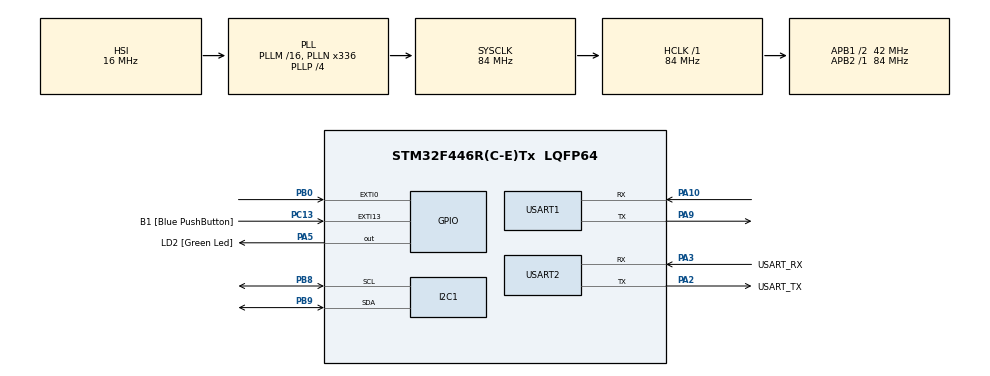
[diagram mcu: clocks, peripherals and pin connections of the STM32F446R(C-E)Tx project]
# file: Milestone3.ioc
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Mcu.Family=STM32F4
Mcu.Name=STM32F446R(C-E)Tx
Mcu.Package=LQFP64
NVIC.EXTI0_IRQn=true\:0\:0\:false\:false\:true\:true\:true\:true
NVIC.EXTI15_10_IRQn=true\:0\:0\:false\:false\:true\:true\:true\:true
NVIC.PriorityGroup=NVIC_PRIORITYGROUP_0
NVIC.USART1_IRQn=true\:0\:0\:false\:false\:true\:true\:true\:true
PA10.Mode=Asynchronous
PA10.Signal=USART1_RX
PA13.GPIO_Label=TMS
PA13.Mode=Serial_Wire
PA13.Signal=SYS_JTMS-SWDIO
PA14.GPIO_Label=TCK
PA14.Mode=Serial_Wire
PA14.Signal=SYS_JTCK-SWCLK
PA2.GPIO_Label=USART_TX
PA2.Mode=Asynchronous
PA2.Signal=USART2_TX
PA3.GPIO_Label=USART_RX
PA3.Mode=Asynchronous
PA3.Signal=USART2_RX
PA5.GPIO_Label=LD2 [Green Led]
PA5.Signal=GPIO_Output
PA9.Mode=Asynchronous
PA9.Signal=USART1_TX
PB0.GPIO_PuPd=GPIO_PULLUP
PB0.Signal=GPXTI0
PB3.GPIO_Label=SWO
PB3.Signal=SYS_JTDO-SWO
PB8.Mode=I2C
PB8.Signal=I2C1_SCL
PB9.Mode=I2C
PB9.Signal=I2C1_SDA
PC13.GPIO_Label=B1 [Blue PushButton]
PC13.GPIO_ModeDefaultEXTI=GPIO_MODE_IT_FALLING
PC13.Signal=GPXTI13
PC14-OSC32_IN.Mode=LSE-External-Oscillator
PC14-OSC32_IN.Signal=RCC_OSC32_IN
PC15-OSC32_OUT.Mode=LSE-External-Oscillator
PC15-OSC32_OUT.Signal=RCC_OSC32_OUT
PH0-OSC_IN.Mode=HSE-External-Oscillator
PH0-OSC_IN.Signal=RCC_OSC_IN
PH1-OSC_OUT.Mode=HSE-External-Oscillator
PH1-OSC_OUT.Signal=RCC_OSC_OUT
ProjectManager.HeapSize=0x200
ProjectManager.StackSize=0x400
ProjectManager.TargetToolchain=STM32CubeIDE
RCC.48MHZClocksFreq_Value=84000000
RCC.AHBFreq_Value=84000000
RCC.APB1CLKDivider=RCC_HCLK_DIV2
RCC.APB1Freq_Value=42000000
RCC.APB1TimFreq_Value=84000000
RCC.APB2Freq_Value=84000000
RCC.APB2TimFreq_Value=84000000
RCC.CortexFreq_Value=84000000
RCC.FLatency-AdvancedSettings=FLASH_LATENCY_2
RCC.HCLKFreq_Value=84000000
RCC.HSE_VALUE=8000000
RCC.HSI_VALUE=16000000
RCC.PLLN=336
RCC.PLLP=RCC_PLLP_DIV4
RCC.SYSCLKFreq_VALUE=84000000
RCC.SYSCLKSource=RCC_SYSCLKSOURCE_PLLCLK
RCC.USBFreq_Value=168000000
RCC.VCOOutputFreq_Value=336000000
USART1.VirtualMode=VM_ASYNC
USART2.VirtualMode=VM_ASYNC
board=NUCLEO-F446RE

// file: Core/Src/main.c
/* USER CODE BEGIN Header */
/**
 ******************************************************************************
 * @file           : main.c
 * @brief          : Main program body
 ******************************************************************************
 * @attention
 *
 * <h2><center>&copy; Copyright (c) 2022 STMicroelectronics.
 * All rights reserved.</center></h2>
 *
 * This software component is licensed by ST under BSD 3-Clause license,
 * the "License"; You may not use this file except in compliance with the
 * License. You may obtain a copy of the License at:
 *                        opensource.org/licenses/BSD-3-Clause
 *
 ******************************************************************************
 */
/* USER CODE END Header */
#include "main.h"

/* USER CODE BEGIN Includes */
#include <stdio.h>
#include "max30100_for_stm32_hal.h"
/* USER CODE END Includes */

I2C_HandleTypeDef hi2c1;

UART_HandleTypeDef huart1;
UART_HandleTypeDef huart2;

/* USER CODE BEGIN PV */
// printf() function
int __io_putchar(int ch)
{
  uint8_t temp = ch;
  HAL_UART_Transmit(&huart1, &temp, 1, HAL_MAX_DELAY);
  return ch;
}

// Override plot function
void max30100_plot(uint16_t ir_sample, uint16_t red_sample)
{
    // printf("ir:%u\n", ir_sample);                  // Print IR only
    // printf("r:%u\n", red_sample);                  // Print Red only
    printf("ir:%u,r:%u\n", ir_sample, red_sample);    // Print IR and Red
}

// max30100 object
max30100_t max30100;
/* USER CODE END PV */

void SystemClock_Config(void);
static void MX_GPIO_Init(void);
static void MX_USART2_UART_Init(void);
static void MX_I2C1_Init(void);
static void MX_USART1_UART_Init(void);

int main(void)
{

  /* MCU Configuration--------------------------------------------------------*/

  /* Reset of all peripherals, Initializes the Flash interface and the Systick. */
  HAL_Init();

  /* Configure the system clock */
  SystemClock_Config();

  /* Initialize all configured peripherals */
  MX_GPIO_Init();
  MX_USART2_UART_Init();
  MX_I2C1_Init();
  MX_USART1_UART_Init();
  /* USER CODE BEGIN 2 */
  // Initiation
  max30100_init(&max30100, &hi2c1);
  max30100_reset(&max30100);
  max30100_clear_fifo(&max30100);
  max30100_set_fifo_config(&max30100, max30100_smp_ave_8, 1, 7);

  // Sensor settings
  max30100_set_led_pulse_width(&max30100, max30100_pw_16_bit);
  max30100_set_adc_resolution(&max30100, max30100_adc_2048);
  max30100_set_sampling_rate(&max30100, max30100_sr_800);
  max30100_set_led_current_1(&max30100, 6.2);
  max30100_set_led_current_2(&max30100, 6.2);

  // Enter SpO2 mode
  max30100_set_mode(&max30100, max30100_spo2);
  max30100_set_a_full(&max30100, 1);

  // Initiate 1 temperature measurement
  max30100_set_die_temp_en(&max30100, 1);
  max30100_set_die_temp_rdy(&max30100, 1);

  uint8_t en_reg[2] = {0};
  max30100_read(&max30100, 0x00, en_reg, 1);
  /* USER CODE END 2 */

  /* Infinite loop */
  /* USER CODE BEGIN WHILE */
  while (1)
  {
    if (max30100_has_interrupt(&max30100))
    {
      max30100_interrupt_handler(&max30100);
    }
    /* USER CODE END WHILE */

  }
}

void SystemClock_Config(void)
{
  RCC_OscInitTypeDef RCC_OscInitStruct = {0};
  RCC_ClkInitTypeDef RCC_ClkInitStruct = {0};

  /** Configure the main internal regulator output voltage
  */
  __HAL_RCC_PWR_CLK_ENABLE();
  __HAL_PWR_VOLTAGESCALING_CONFIG(PWR_REGULATOR_VOLTAGE_SCALE3);

  /** Initializes the RCC Oscillators according to the specified parameters
  * in the RCC_OscInitTypeDef structure.
  */
  RCC_OscInitStruct.OscillatorType = RCC_OSCILLATORTYPE_HSI;
  RCC_OscInitStruct.HSIState = RCC_HSI_ON;
  RCC_OscInitStruct.HSICalibrationValue = RCC_HSICALIBRATION_DEFAULT;
  RCC_OscInitStruct.PLL.PLLState = RCC_PLL_ON;
  RCC_OscInitStruct.PLL.PLLSource = RCC_PLLSOURCE_HSI;
  RCC_OscInitStruct.PLL.PLLM = 16;
  RCC_OscInitStruct.PLL.PLLN = 336;
  RCC_OscInitStruct.PLL.PLLP = RCC_PLLP_DIV4;
  RCC_OscInitStruct.PLL.PLLQ = 2;
  RCC_OscInitStruct.PLL.PLLR = 2;
  if (HAL_RCC_OscConfig(&RCC_OscInitStruct) != HAL_OK)
  {
    Error_Handler();
  }

  /** Initializes the CPU, AHB and APB buses clocks
  */
  RCC_ClkInitStruct.ClockType = RCC_CLOCKTYPE_HCLK|RCC_CLOCKTYPE_SYSCLK
                              |RCC_CLOCKTYPE_PCLK1|RCC_CLOCKTYPE_PCLK2;
  RCC_ClkInitStruct.SYSCLKSource = RCC_SYSCLKSOURCE_PLLCLK;
  RCC_ClkInitStruct.AHBCLKDivider = RCC_SYSCLK_DIV1;
  RCC_ClkInitStruct.APB1CLKDivider = RCC_HCLK_DIV2;
  RCC_ClkInitStruct.APB2CLKDivider = RCC_HCLK_DIV1;

  if (HAL_RCC_ClockConfig(&RCC_ClkInitStruct, FLASH_LATENCY_2) != HAL_OK)
  {
    Error_Handler();
  }
}

static void MX_I2C1_Init(void)
{

  hi2c1.Instance = I2C1;
  hi2c1.Init.ClockSpeed = 100000;
  hi2c1.Init.DutyCycle = I2C_DUTYCYCLE_2;
  hi2c1.Init.OwnAddress1 = 0;
  hi2c1.Init.AddressingMode = I2C_ADDRESSINGMODE_7BIT;
  hi2c1.Init.DualAddressMode = I2C_DUALADDRESS_DISABLE;
  hi2c1.Init.OwnAddress2 = 0;
  hi2c1.Init.GeneralCallMode = I2C_GENERALCALL_DISABLE;
  hi2c1.Init.NoStretchMode = I2C_NOSTRETCH_DISABLE;
  if (HAL_I2C_Init(&hi2c1) != HAL_OK)
  {
    Error_Handler();
  }

}

static void MX_USART1_UART_Init(void)
{

  huart1.Instance = USART1;
  huart1.Init.BaudRate = 115200;
  huart1.Init.WordLength = UART_WORDLENGTH_8B;
  huart1.Init.StopBits = UART_STOPBITS_1;
  huart1.Init.Parity = UART_PARITY_NONE;
  huart1.Init.Mode = UART_MODE_TX_RX;
  huart1.Init.HwFlowCtl = UART_HWCONTROL_NONE;
  huart1.Init.OverSampling = UART_OVERSAMPLING_16;
  if (HAL_UART_Init(&huart1) != HAL_OK)
  {
    Error_Handler();
  }

}

static void MX_USART2_UART_Init(void)
{

  huart2.Instance = USART2;
  huart2.Init.BaudRate = 115200;
  huart2.Init.WordLength = UART_WORDLENGTH_8B;
  huart2.Init.StopBits = UART_STOPBITS_1;
  huart2.Init.Parity = UART_PARITY_NONE;
  huart2.Init.Mode = UART_MODE_TX_RX;
  huart2.Init.HwFlowCtl = UART_HWCONTROL_NONE;
  huart2.Init.OverSampling = UART_OVERSAMPLING_16;
  if (HAL_UART_Init(&huart2) != HAL_OK)
  {
    Error_Handler();
  }

}

static void MX_GPIO_Init(void)
{
  GPIO_InitTypeDef GPIO_InitStruct = {0};

  /* GPIO Ports Clock Enable */
  __HAL_RCC_GPIOC_CLK_ENABLE();
  __HAL_RCC_GPIOH_CLK_ENABLE();
  __HAL_RCC_GPIOA_CLK_ENABLE();
  __HAL_RCC_GPIOB_CLK_ENABLE();

  /*Configure GPIO pin Output Level */
  HAL_GPIO_WritePin(LD2_GPIO_Port, LD2_Pin, GPIO_PIN_RESET);

  /*Configure GPIO pin : B1_Pin */
  GPIO_InitStruct.Pin = B1_Pin;
  GPIO_InitStruct.Mode = GPIO_MODE_IT_FALLING;
  GPIO_InitStruct.Pull = GPIO_NOPULL;
  HAL_GPIO_Init(B1_GPIO_Port, &GPIO_InitStruct);

  /*Configure GPIO pin : LD2_Pin */
  GPIO_InitStruct.Pin = LD2_Pin;
  GPIO_InitStruct.Mode = GPIO_MODE_OUTPUT_PP;
  GPIO_InitStruct.Pull = GPIO_NOPULL;
  GPIO_InitStruct.Speed = GPIO_SPEED_FREQ_LOW;
  HAL_GPIO_Init(LD2_GPIO_Port, &GPIO_InitStruct);

  /*Configure GPIO pin : PB0 */
  GPIO_InitStruct.Pin = GPIO_PIN_0;
  GPIO_InitStruct.Mode = GPIO_MODE_IT_RISING;
  GPIO_InitStruct.Pull = GPIO_PULLUP;
  HAL_GPIO_Init(GPIOB, &GPIO_InitStruct);

  /* EXTI interrupt init*/
  HAL_NVIC_SetPriority(EXTI0_IRQn, 0, 0);
  HAL_NVIC_EnableIRQ(EXTI0_IRQn);

  HAL_NVIC_SetPriority(EXTI15_10_IRQn, 0, 0);
  HAL_NVIC_EnableIRQ(EXTI15_10_IRQn);

}

void Error_Handler(void)
{
}
